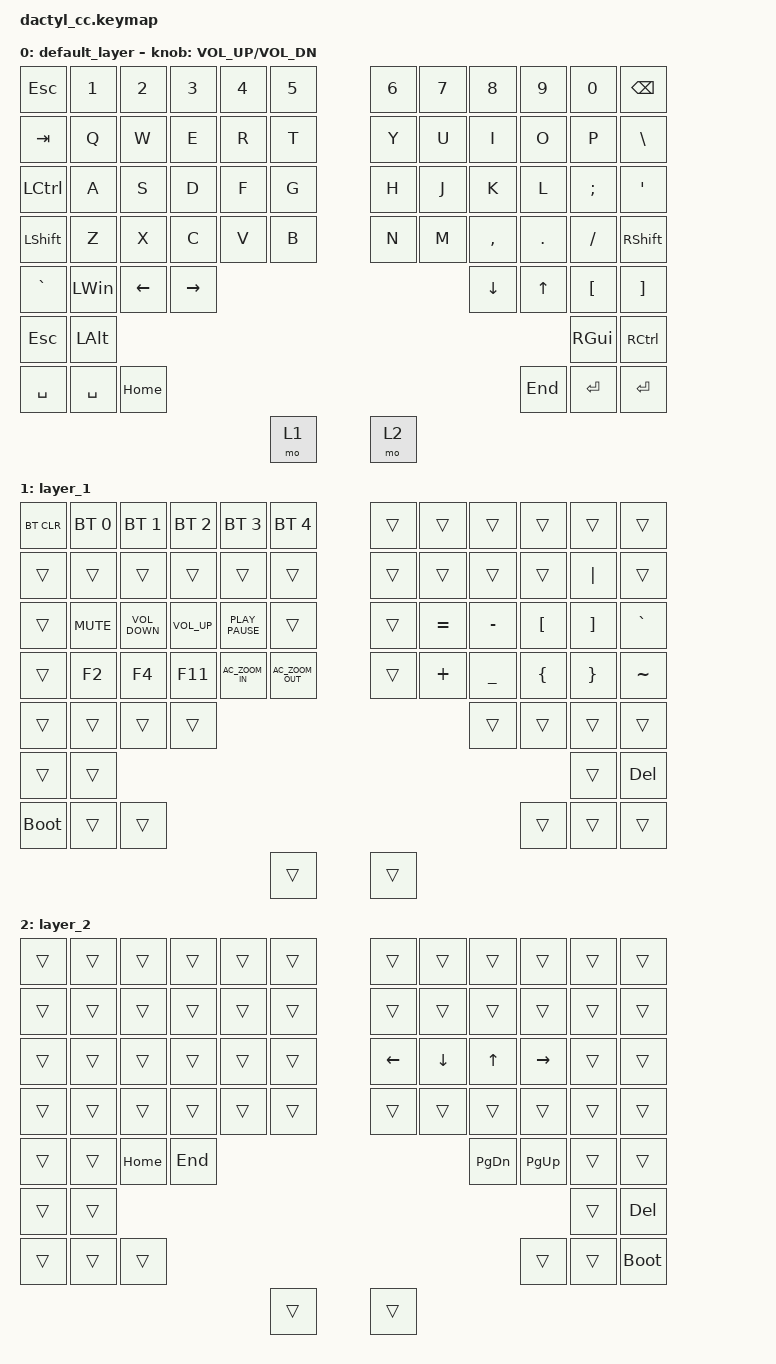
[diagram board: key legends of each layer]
/*
 * Copyright (c) 2020 The ZMK Contributors
 *
 * SPDX-License-Identifier: MIT
 */

#include <behaviors.dtsi>
#include <dt-bindings/zmk/bt.h>
#include <dt-bindings/zmk/keys.h>

/ {
    keymap {
        compatible = "zmk,keymap";

        default_layer {
            // ------------------------------------------------------------------------------------------------------------
            // |  ESC   |  1  |  2  |  3   |  4   |  5   |                    |  6   |  7    |  8    |  9   |   0   |   `   |
            // |  TAB   |  Q  |  W  |  E   |  R   |  T   |                    |  Y   |  U    |  I    |  O   |   P   |   -   |
            // |  CTRL  |  A  |  S  |  D   |  F   |  G   |                    |  H   |  J    |  K    |  L   |   ;   |   '   |
            // | SHIFT  |  Z  |  X  |  C   |  V   |  B   |                    |  N   |  M    |  ,    |  .   |   /   | SHIFT |
            // |    2   |  2  | f   | 6    | 4    | 1    |                    | 2    | 1     | w     | s    | n     |  a    |

            bindings = <
&kp ESCAPE  &kp N1        &kp N2    &kp N3     &kp N4     &kp N5                         &kp N6        &kp N7    &kp N8     &kp N9   &kp N0    &kp BACKSPACE
&kp TAB     &kp Q         &kp W     &kp E      &kp R      &kp T                          &kp Y         &kp U     &kp I      &kp O    &kp P     &kp BSLH
&kp LCTRL   &kp A         &kp S     &kp D      &kp F      &kp G                          &kp H         &kp J     &kp K      &kp L    &kp SEMI  &kp SQT
&kp LSHFT   &kp Z         &kp X     &kp C      &kp V      &kp B                          &kp N         &kp M     &kp COMMA  &kp DOT  &kp FSLH  &kp RSHIFT
&kp GRAVE   &kp LEFT_WIN  &kp LEFT  &kp RIGHT                       &kp DOWN             &kp UP_ARROW  &kp LBKT  &kp RBKT
&kp ESCAPE  &kp LALT                &kp RGUI   &kp RCTRL
                                    &kp SPACE  &kp SPACE  &kp HOME  &kp END   &kp ENTER  &kp ENTER
            &mo 1         &mo 2
            >;

            sensor-bindings = <&inc_dec_kp C_VOL_UP C_VOL_DN>;
        };

        layer_1 {
            bindings = <
&bt BT_CLR  &bt BT_SEL 0  &bt BT_SEL 1       &bt BT_SEL 2     &bt BT_SEL 3      &bt BT_SEL 4                       &trans  &trans     &trans     &trans            &trans             &trans
&trans      &trans        &trans             &trans           &trans            &trans                             &trans  &trans     &trans     &trans            &kp PIPE           &trans
&trans      &kp K_MUTE    &kp C_VOLUME_DOWN  &kp C_VOLUME_UP  &kp K_PLAY_PAUSE  &trans                             &trans  &kp EQUAL  &kp MINUS  &kp LEFT_BRACKET  &kp RIGHT_BRACKET  &kp GRAVE
&trans      &kp F2        &kp F4             &kp F11          &kp C_AC_ZOOM_IN  &kp C_AC_ZOOM_OUT                  &trans  &kp PLUS   &kp UNDER  &kp LEFT_BRACE    &kp RIGHT_BRACE    &kp TILDE
&trans      &trans        &trans             &trans                                                &trans          &trans  &trans     &trans
&trans      &trans                           &trans           &kp DEL
                                             &bootloader      &trans            &trans             &trans  &trans  &trans
            &trans        &trans
            >;
        };

        layer_2 {
            bindings = <
&trans  &trans  &trans    &trans   &trans   &trans                         &trans          &trans          &trans        &trans           &trans  &trans
&trans  &trans  &trans    &trans   &trans   &trans                         &trans          &trans          &trans        &trans           &trans  &trans
&trans  &trans  &trans    &trans   &trans   &trans                         &kp LEFT_ARROW  &kp DOWN_ARROW  &kp UP_ARROW  &kp RIGHT_ARROW  &trans  &trans
&trans  &trans  &trans    &trans   &trans   &trans                         &trans          &trans          &trans        &trans           &trans  &trans
&trans  &trans  &kp HOME  &kp END                   &kp PAGE_DOWN          &kp PAGE_UP     &trans          &trans
&trans  &trans            &trans   &kp DEL
                          &trans   &trans   &trans  &trans         &trans  &bootloader
        &trans  &trans
            >;
        };
    };
};
